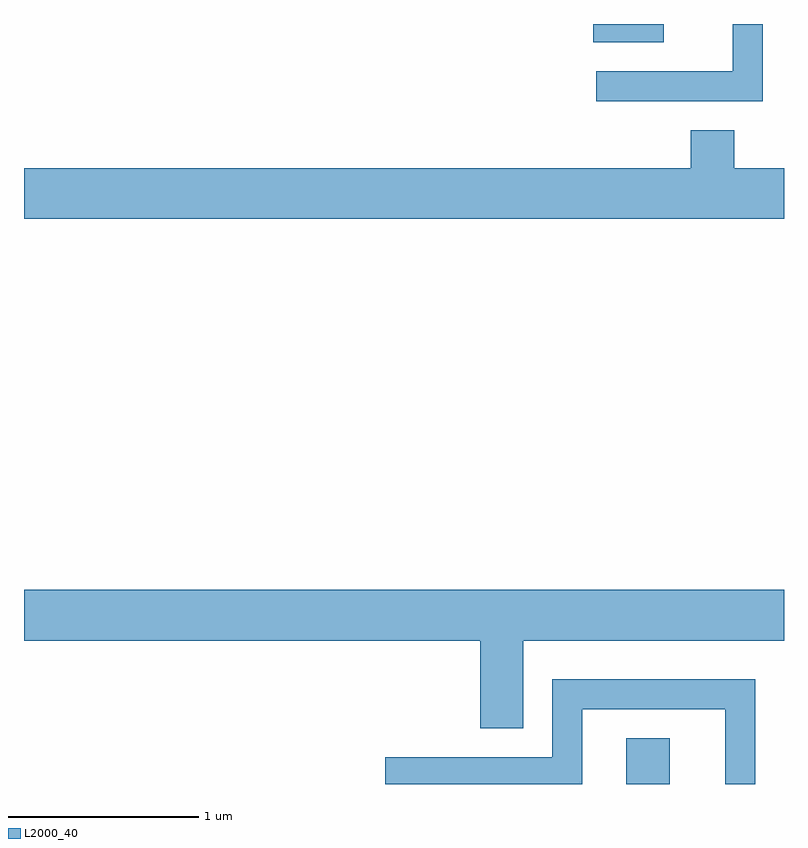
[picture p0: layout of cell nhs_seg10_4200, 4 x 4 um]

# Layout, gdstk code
import gdstk
lib = gdstk.Library(unit=1e-6, precision=1e-09)
def R(c, l, rs):  # rectangles x0, y0, x1, y1
    for r in rs: c.add(gdstk.rectangle(r[:2], r[2:], *l))
def P(c, l, *ps):  # polygons
    for p in ps: c.add(gdstk.Polygon(p, *l))
L2000_40 = (2000, 40)

nhs_seg10_4200 = lib.new_cell('nhs_seg10_4200')
R(nhs_seg10_4200, L2000_40, [(312.781,2086.522,313.009,2086.764), (312.606,2090.426,312.979,2090.522)])
P(nhs_seg10_4200, L2000_40, [(313.499,2090.522),(313.341,2090.522),(313.341,2090.274),(312.623,2090.274),(312.623,2090.116),(313.499,2090.116)],
  [(313.611,2089.764),(313.349,2089.764),(313.349,2089.964),(313.121,2089.964),(313.121,2089.764),(309.611,2089.764),(309.611,2089.496),(313.611,2089.496)],
  [(312.239,2087.276),(313.611,2087.276),(313.611,2087.544),(309.611,2087.544),(309.611,2087.276),(312.011,2087.276),(312.011,2086.816),(312.239,2086.816)],
  [(312.549,2086.916),(313.301,2086.916),(313.301,2086.522),(313.459,2086.522),(313.459,2087.074),(312.391,2087.074),(312.391,2086.664),(311.513,2086.664),(311.513,2086.522),(312.549,2086.522)])

lib.write_gds('nhs_seg10_4200.gds')
